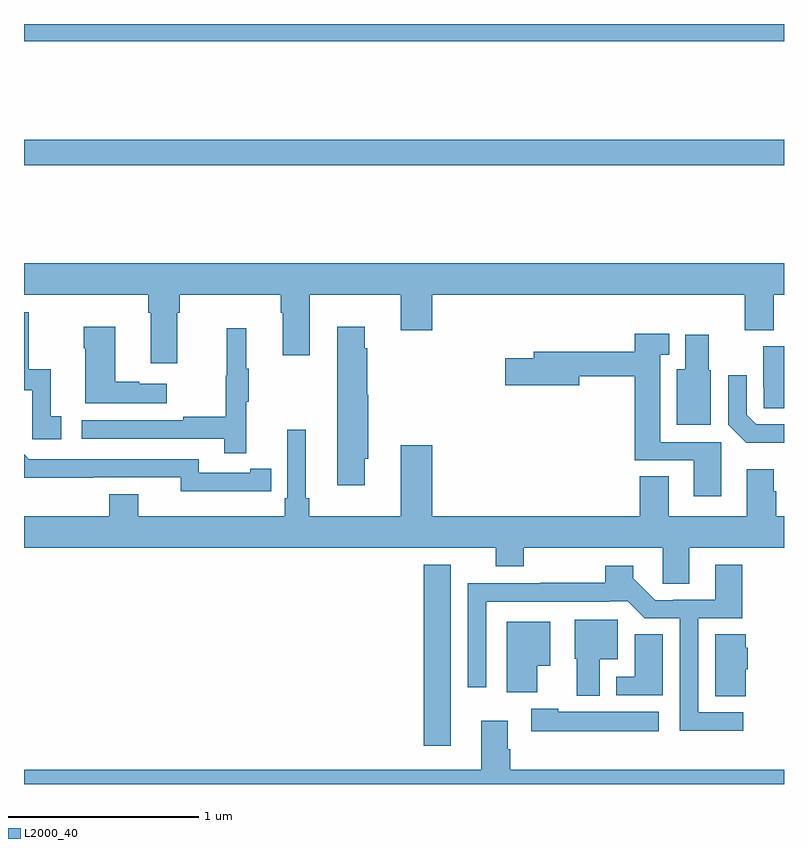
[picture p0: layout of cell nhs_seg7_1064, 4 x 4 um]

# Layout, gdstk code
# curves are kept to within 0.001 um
import gdstk
lib = gdstk.Library(unit=1e-6, precision=1e-09)
def R(c, l, rs):  # rectangles x0, y0, x1, y1
    for r in rs: c.add(gdstk.rectangle(r[:2], r[2:], *l))
def P(c, l, *ps):  # polygons
    for p in ps: c.add(gdstk.Polygon(p, *l))
L2000_40 = (2000, 40)

nhs_seg7_1064 = lib.new_cell('nhs_seg7_1064')
R(nhs_seg7_1064, L2000_40, [(189.104,1038.201,189.247,1039.153), (187,1041.256,191,1041.392), (187,1041.908,191,1042)])
P(nhs_seg7_1064, L2000_40, [(187.807,1040.48),(187.82,1040.48),(187.82,1040.576),(188.351,1040.576),(188.351,1040.48),(188.363,1040.48),(188.363,1040.256),(188.503,1040.256),(188.503,1040.576),(188.984,1040.576),(188.984,1040.388),(189.148,1040.388),(189.148,1040.576),(190.793,1040.576),(190.793,1040.389),(190.945,1040.389),(190.945,1040.576),(191,1040.576),(191,1040.74),(187,1040.74),(187,1040.576),(187.655,1040.576),(187.655,1040.48),(187.667,1040.48),(187.667,1040.214),(187.807,1040.214)],
  [(187.195,1039.935),(187.142,1039.935),(187.142,1040.182),(187.024,1040.182),(187.024,1040.484),(187,1040.484),(187,1040.073),(187.044,1040.073),(187.044,1039.815),(187.195,1039.815)],
  [(187.75,1040.107),(187.607,1040.107),(187.607,1040.117),(187.48,1040.117),(187.48,1040.407),(187.315,1040.407),(187.315,1040.294),(187.322,1040.294),(187.322,1040.003),(187.75,1040.003)],
  [(188.794,1039.713),(188.812,1039.713),(188.812,1040.049),(188.807,1040.049),(188.807,1040.294),(188.794,1040.294),(188.794,1040.407),(188.648,1040.407),(188.648,1039.572),(188.794,1039.572)],
  [(188.171,1040.011),(188.182,1040.011),(188.182,1040.185),(188.171,1040.185),(188.171,1040.398),(188.068,1040.398),(188.068,1040.148),(188.061,1040.148),(188.061,1039.934),(187.837,1039.934),(187.837,1039.914),(187.305,1039.914),(187.305,1039.818),(188.053,1039.818),(188.053,1039.74),(188.171,1039.74)],
  [(190.669,1039.8),(190.348,1039.8),(190.348,1040.259),(190.396,1040.259),(190.396,1040.369),(190.214,1040.369),(190.214,1040.275),(189.683,1040.275),(189.683,1040.241),(189.534,1040.241),(189.534,1040.099),(189.922,1040.099),(189.922,1040.146),(190.214,1040.146),(190.214,1039.704),(190.526,1039.704),(190.526,1039.515),(190.669,1039.515)],
  [(190.615,1040.178),(190.603,1040.178),(190.603,1040.365),(190.481,1040.365),(190.481,1040.182),(190.436,1040.182),(190.436,1039.892),(190.615,1039.892)],
  [(191,1040.304),(190.892,1040.304),(190.892,1040.089),(190.893,1040.089),(190.893,1039.978),(191,1039.978)],
  [(191,1039.893),(190.854,1039.893),(190.803,1039.944),(190.803,1040.152),(190.707,1040.152),(190.707,1039.89),(190.801,1039.796),(191,1039.796)],
  [(190.501,1039.244),(191,1039.244),(191,1039.408),(190.958,1039.408),(190.958,1039.541),(190.945,1039.541),(190.945,1039.657),(190.805,1039.657),(190.805,1039.408),(190.393,1039.408),(190.393,1039.619),(190.241,1039.619),(190.241,1039.408),(189.148,1039.408),(189.148,1039.783),(188.984,1039.783),(188.984,1039.408),(188.501,1039.408),(188.501,1039.504),(188.482,1039.504),(188.482,1039.864),(188.385,1039.864),(188.385,1039.504),(188.372,1039.504),(188.372,1039.408),(187.6,1039.408),(187.6,1039.525),(187.448,1039.525),(187.448,1039.408),(187,1039.408),(187,1039.244),(189.482,1039.244),(189.482,1039.145),(189.63,1039.145),(189.63,1039.244),(190.362,1039.244),(190.362,1039.054),(190.501,1039.054)],
  [(188.192,1039.542),(188.3,1039.542),(188.3,1039.658),(188.192,1039.658),(188.192,1039.638),(187.92,1039.638),(187.92,1039.71),(187.026,1039.71),(187,1039.736),(187,1039.613),(187.824,1039.614),(187.824,1039.541)],
  [(190.786,1038.378),(190.548,1038.378),(190.548,1038.873),(190.78,1038.873),(190.78,1039.153),(190.637,1039.153),(190.637,1038.969),(190.417,1038.969),(190.417,1038.966),(190.323,1038.966),(190.207,1039.082),(190.207,1039.15),(190.06,1039.15),(190.06,1039.058),(189.718,1039.058),(189.718,1039.056),(189.336,1039.056),(189.336,1038.51),(189.432,1038.51),(189.433,1038.96),(190.082,1038.96),(190.082,1038.963),(190.178,1038.963),(190.268,1038.873),(190.452,1038.873),(190.452,1038.281),(190.786,1038.281)],
  [(190.03,1038.656),(190.126,1038.656),(190.126,1038.865),(189.899,1038.865),(189.899,1038.66),(189.908,1038.66),(189.908,1038.464),(190.03,1038.464)],
  [(189.7,1038.623),(189.769,1038.623),(189.769,1038.853),(189.542,1038.853),(189.542,1038.482),(189.7,1038.482)],
  [(190.363,1038.788),(190.214,1038.788),(190.214,1038.564),(190.116,1038.564),(190.116,1038.468),(190.363,1038.468)],
  [(190.798,1038.603),(190.81,1038.603),(190.81,1038.717),(190.798,1038.717),(190.798,1038.788),(190.637,1038.788),(190.637,1038.463),(190.798,1038.463)],
  [(190.342,1038.379),(189.813,1038.379),(189.813,1038.397),(189.669,1038.397),(189.669,1038.278),(190.342,1038.278)],
  [(191,1038.076),(189.56,1038.076),(189.56,1038.182),(189.547,1038.182),(189.547,1038.334),(189.407,1038.334),(189.407,1038.076),(187,1038.076),(187,1038),(191,1038)])

lib.write_gds('nhs_seg7_1064.gds')
